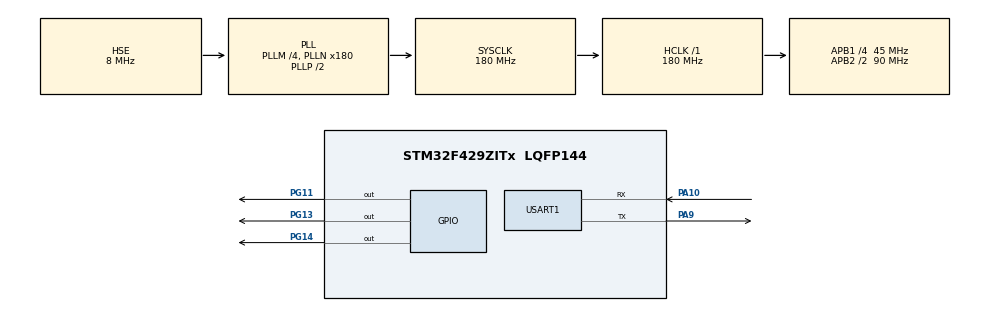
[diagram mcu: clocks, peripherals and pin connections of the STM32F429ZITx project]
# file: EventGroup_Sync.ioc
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FREERTOS.Tasks01=defaultTask,0,128,StartDefaultTask,Default,NULL,Dynamic,NULL,NULL
Mcu.Family=STM32F4
Mcu.Name=STM32F429ZITx
Mcu.Package=LQFP144
NVIC.PriorityGroup=NVIC_PRIORITYGROUP_4
NVIC.TIM6_DAC_IRQn=true\:15\:0\:false\:false\:true\:false\:false\:true\:true
NVIC.TimeBase=TIM6_DAC_IRQn
NVIC.TimeBaseIP=TIM6
PA10.Mode=Asynchronous
PA10.Signal=USART1_RX
PA9.Mode=Asynchronous
PA9.Signal=USART1_TX
PG11.Signal=GPIO_Output
PG13.Signal=GPIO_Output
PG14.Signal=GPIO_Output
PH0/OSC_IN.Mode=HSE-External-Oscillator
PH0/OSC_IN.Signal=RCC_OSC_IN
PH1/OSC_OUT.Mode=HSE-External-Oscillator
PH1/OSC_OUT.Signal=RCC_OSC_OUT
ProjectManager.HeapSize=0x200
ProjectManager.StackSize=0x400
ProjectManager.TargetToolchain=STM32CubeIDE
RCC.48MHZClocksFreq_Value=51428571.428571425
RCC.AHBFreq_Value=180000000
RCC.APB1CLKDivider=RCC_HCLK_DIV4
RCC.APB1Freq_Value=45000000
RCC.APB1TimFreq_Value=90000000
RCC.APB2CLKDivider=RCC_HCLK_DIV2
RCC.APB2Freq_Value=90000000
RCC.APB2TimFreq_Value=180000000
RCC.CortexFreq_Value=180000000
RCC.HCLKFreq_Value=180000000
RCC.HSE_VALUE=8000000
RCC.HSI_VALUE=16000000
RCC.LSE_VALUE=32768
RCC.PLLM=4
RCC.PLLN=180
RCC.PLLQ=7
RCC.PLLSourceVirtual=RCC_PLLSOURCE_HSE
RCC.SYSCLKFreq_VALUE=180000000
RCC.SYSCLKSource=RCC_SYSCLKSOURCE_PLLCLK
RCC.VCOOutputFreq_Value=360000000
USART1.VirtualMode=VM_ASYNC
VP_FREERTOS_VS_CMSIS_V1.Mode=CMSIS_V1
VP_SYS_VS_tim6.Mode=TIM6
board=STM32F429I-DISC1

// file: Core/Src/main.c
/* USER CODE BEGIN Header */
/**
  ******************************************************************************
  * @file           : main.c
  * @brief          : Main program body
  ******************************************************************************
  * @attention
  *
  * Copyright (c) 2025 STMicroelectronics.
  * All rights reserved.
  *
  * This software is licensed under terms that can be found in the LICENSE file
  * in the root directory of this software component.
  * If no LICENSE file comes with this software, it is provided AS-IS.
  *
  ******************************************************************************
  */
/* USER CODE END Header */
#include "main.h"

#include "FreeRTOS.h"
#include "task.h"
//#include "timers.h"
//#include "queue.h"
//#include "semphr.h"
#include "event_groups.h"

UART_HandleTypeDef huart1;

void SystemClock_Config(void);
static void MX_GPIO_Init(void);
static void MX_USART1_UART_Init(void);

/* USER CODE BEGIN 0 */

/* ************************ Event Group Handle ***************************** */
EventGroupHandle_t EventGroup_Handle;

/* ************************ Task Handlers ***************************** */
TaskHandle_t Task01_Handler = NULL;
TaskHandle_t Task02_Handler = NULL;
TaskHandle_t Task03_Handler = NULL;

/* ************************ Event Bits ***************************** */
const EventBits_t task01_bit = (1 << 0); // 0x01 // Bit 0
const EventBits_t task02_bit = (1 << 1); // 0x02 // Bit 1
const EventBits_t task03_bit = (1 << 2); // 0x04 // Bit 2

const EventBits_t all_sync_bits = (task01_bit | task02_bit | task03_bit); // 0x07 // Bit 0, Bit 1, Bit 2)

/* ************************ Task Functions ************************* */
void Task01(void* pvParameters)
{
	for(;;)
	{
		HAL_GPIO_TogglePin(GPIOG, GPIO_PIN_13);

		EventBits_t uxReturn = xEventGroupSync(
				EventGroup_Handle,  // The event group
				task01_bit, 		// The bits being set.
				all_sync_bits,		// Wait for all bits
				pdMS_TO_TICKS(2000) // Wait for 2000 ms
		);

		if((uxReturn & all_sync_bits) == all_sync_bits){
			// All three tasks reached the synchronisation point before the call
			// to xEventGroupSync() timed out.
			HAL_UART_Transmit(&huart1, (uint8_t *)"Task01: All tasks synchronized.\n", 32, HAL_MAX_DELAY);
		}else{
			// Timeout occurred before all bits were set.
			HAL_UART_Transmit(&huart1, (uint8_t*) "Task01: Synchronization timeout.\n", 33, HAL_MAX_DELAY);
		}

		vTaskDelay(pdMS_TO_TICKS(500));

	}
}

void Task02(void* pvParameters)
{
	for(;;)
	{
		HAL_GPIO_TogglePin(GPIOG, GPIO_PIN_14);

		EventBits_t uxReturn = xEventGroupSync(
				EventGroup_Handle,  // The event group
				task02_bit, 		// The bits being set.
				all_sync_bits,		// Wait for all bits
				pdMS_TO_TICKS(2000) // Wait for 2000 ms
		);

		if((uxReturn & all_sync_bits) == all_sync_bits){
			// All three tasks reached the synchronisation point before the call
			// to xEventGroupSync() timed out.
			HAL_UART_Transmit(&huart1, (uint8_t *)"Task02: All tasks synchronized.\n", 32, HAL_MAX_DELAY);
		}else{
			// Timeout occurred before all bits were set.
			HAL_UART_Transmit(&huart1, (uint8_t*) "Task02: Synchronization timeout.\n", 33, HAL_MAX_DELAY);
		}

		vTaskDelay(pdMS_TO_TICKS(1000));
	}
}

void Task03(void* pvParameters)
{
	static int count = 0;
	for(;;)
	{
		HAL_GPIO_TogglePin(GPIOG, GPIO_PIN_11);

		 if (count >= 3 && count <= 6) {
			 // Simulate a failure (not calling sync)
			 HAL_UART_Transmit(&huart1, (uint8_t *)"Task03: Missed sync (failure simulation).\n", 43, HAL_MAX_DELAY);
		 }
		 else {

			EventBits_t uxReturn = xEventGroupSync(
					EventGroup_Handle,  // The event group
					task03_bit, 		// The bits being set.
					all_sync_bits,		// Wait for all bits
					pdMS_TO_TICKS(2000) // Wait for 2000 ms
			);

			if((uxReturn & all_sync_bits) == all_sync_bits){
				// All three tasks reached the synchronisation point before the call
				// to xEventGroupSync() timed out.
				HAL_UART_Transmit(&huart1, (uint8_t *)"Task03: All tasks synchronized.\n", 32, HAL_MAX_DELAY);
			}else{
				// Timeout occurred before all bits were set.
				HAL_UART_Transmit(&huart1, (uint8_t*) "Task03: Synchronization timeout.\n", 33, HAL_MAX_DELAY);
			}
		 }

		 count++;
		 if (count > 8) count = 0;

		 vTaskDelay(pdMS_TO_TICKS(2000));
	}
}

/* USER CODE END 0 */

int main(void)
{

  /* MCU Configuration--------------------------------------------------------*/

  /* Reset of all peripherals, Initializes the Flash interface and the Systick. */
  HAL_Init();

  /* Configure the system clock */
  SystemClock_Config();

  /* Initialize all configured peripherals */
  MX_GPIO_Init();
  MX_USART1_UART_Init();
  /* USER CODE BEGIN 2 */

  // Create Event Group
  EventGroup_Handle = xEventGroupCreate();
	if (EventGroup_Handle == NULL) {
		// Event Group creation failed
		HAL_UART_Transmit(&huart1, (uint8_t*) "Event Group Creation Failed!\n", 28, HAL_MAX_DELAY);
	}else {
		HAL_UART_Transmit(&huart1, (uint8_t*) "Event Group Created Successfully.\n", 35, HAL_MAX_DELAY);
	}

	// Create Tasks
	xTaskCreate(Task01, "Task01", 128, NULL, 1, &Task01_Handler);
	xTaskCreate(Task02, "Task02", 128, NULL, 1, &Task02_Handler);
	xTaskCreate(Task03, "Task03", 128, NULL, 1, &Task03_Handler);

	// Start Scheduler
	vTaskStartScheduler();

  /* USER CODE END 2 */

  /* We should never get here as control is now taken by the scheduler */

  /* Infinite loop */
  while (1)
  {

  }
}

void SystemClock_Config(void)
{
  RCC_OscInitTypeDef RCC_OscInitStruct = {0};
  RCC_ClkInitTypeDef RCC_ClkInitStruct = {0};

  /** Configure the main internal regulator output voltage
  */
  __HAL_RCC_PWR_CLK_ENABLE();
  __HAL_PWR_VOLTAGESCALING_CONFIG(PWR_REGULATOR_VOLTAGE_SCALE1);

  /** Initializes the RCC Oscillators according to the specified parameters
  * in the RCC_OscInitTypeDef structure.
  */
  RCC_OscInitStruct.OscillatorType = RCC_OSCILLATORTYPE_HSE;
  RCC_OscInitStruct.HSEState = RCC_HSE_ON;
  RCC_OscInitStruct.PLL.PLLState = RCC_PLL_ON;
  RCC_OscInitStruct.PLL.PLLSource = RCC_PLLSOURCE_HSE;
  RCC_OscInitStruct.PLL.PLLM = 4;
  RCC_OscInitStruct.PLL.PLLN = 180;
  RCC_OscInitStruct.PLL.PLLP = RCC_PLLP_DIV2;
  RCC_OscInitStruct.PLL.PLLQ = 7;
  if (HAL_RCC_OscConfig(&RCC_OscInitStruct) != HAL_OK)
  {
    Error_Handler();
  }

  /** Activate the Over-Drive mode
  */
  if (HAL_PWREx_EnableOverDrive() != HAL_OK)
  {
    Error_Handler();
  }

  /** Initializes the CPU, AHB and APB buses clocks
  */
  RCC_ClkInitStruct.ClockType = RCC_CLOCKTYPE_HCLK|RCC_CLOCKTYPE_SYSCLK
                              |RCC_CLOCKTYPE_PCLK1|RCC_CLOCKTYPE_PCLK2;
  RCC_ClkInitStruct.SYSCLKSource = RCC_SYSCLKSOURCE_PLLCLK;
  RCC_ClkInitStruct.AHBCLKDivider = RCC_SYSCLK_DIV1;
  RCC_ClkInitStruct.APB1CLKDivider = RCC_HCLK_DIV4;
  RCC_ClkInitStruct.APB2CLKDivider = RCC_HCLK_DIV2;

  if (HAL_RCC_ClockConfig(&RCC_ClkInitStruct, FLASH_LATENCY_5) != HAL_OK)
  {
    Error_Handler();
  }
}

static void MX_USART1_UART_Init(void)
{

  huart1.Instance = USART1;
  huart1.Init.BaudRate = 115200;
  huart1.Init.WordLength = UART_WORDLENGTH_8B;
  huart1.Init.StopBits = UART_STOPBITS_1;
  huart1.Init.Parity = UART_PARITY_NONE;
  huart1.Init.Mode = UART_MODE_TX_RX;
  huart1.Init.HwFlowCtl = UART_HWCONTROL_NONE;
  huart1.Init.OverSampling = UART_OVERSAMPLING_16;
  if (HAL_UART_Init(&huart1) != HAL_OK)
  {
    Error_Handler();
  }

}

static void MX_GPIO_Init(void)
{
  GPIO_InitTypeDef GPIO_InitStruct = {0};

  /* GPIO Ports Clock Enable */
  __HAL_RCC_GPIOH_CLK_ENABLE();
  __HAL_RCC_GPIOA_CLK_ENABLE();
  __HAL_RCC_GPIOG_CLK_ENABLE();

  /*Configure GPIO pin Output Level */
  HAL_GPIO_WritePin(GPIOG, GPIO_PIN_11|GPIO_PIN_13|GPIO_PIN_14, GPIO_PIN_RESET);

  /*Configure GPIO pins : PG11 PG13 PG14 */
  GPIO_InitStruct.Pin = GPIO_PIN_11|GPIO_PIN_13|GPIO_PIN_14;
  GPIO_InitStruct.Mode = GPIO_MODE_OUTPUT_PP;
  GPIO_InitStruct.Pull = GPIO_NOPULL;
  GPIO_InitStruct.Speed = GPIO_SPEED_FREQ_LOW;
  HAL_GPIO_Init(GPIOG, &GPIO_InitStruct);

}

void HAL_TIM_PeriodElapsedCallback(TIM_HandleTypeDef *htim)
{
  if (htim->Instance == TIM6)
  {
    HAL_IncTick();
  }
}

void Error_Handler(void)
{
  __disable_irq();
  while (1)
  {
  }
}
